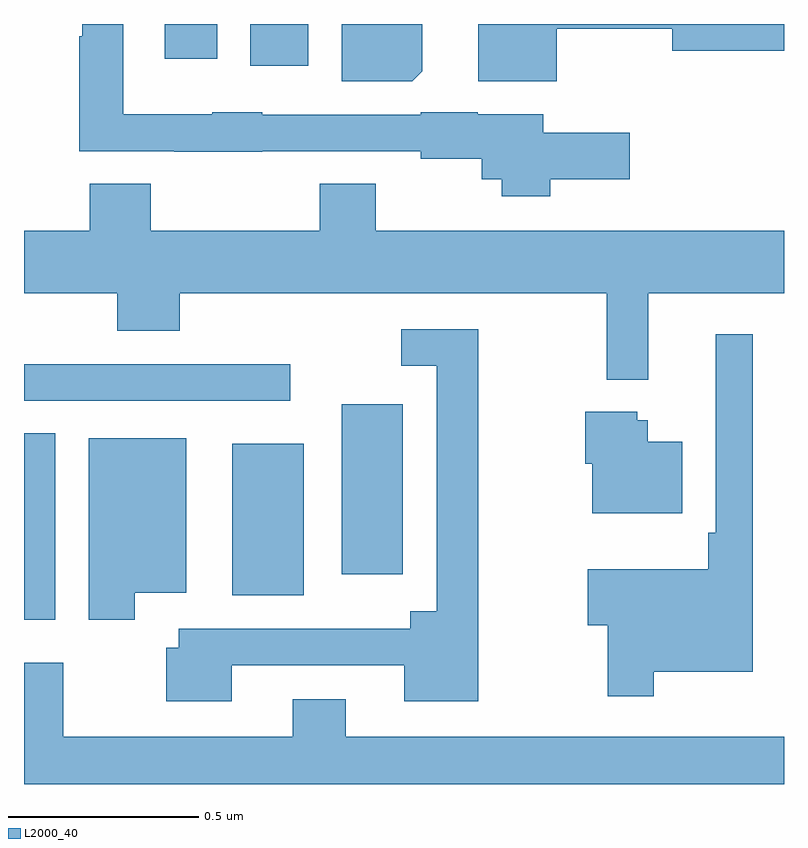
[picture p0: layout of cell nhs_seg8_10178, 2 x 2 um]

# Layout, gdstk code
import gdstk
lib = gdstk.Library(unit=1e-6, precision=1e-09)
def R(c, l, rs):  # rectangles x0, y0, x1, y1
    for r in rs: c.add(gdstk.rectangle(r[:2], r[2:], *l))
def P(c, l, *ps):  # polygons
    for p in ps: c.add(gdstk.Polygon(p, *l))
L2000_40 = (2000, 40)

nhs_seg8_10178 = lib.new_cell('nhs_seg8_10178')
R(nhs_seg8_10178, L2000_40, [(246,1090.332,246.082,1090.823), (246.548,1090.397,246.736,1090.795), (246.836,1090.452,246.997,1090.9), (246,1090.908,246.7,1091.004), (246.596,1091.79,246.748,1091.9), (246.371,1091.808,246.508,1091.9)])
P(nhs_seg8_10178, L2000_40, [(247.048,1091.776),(247.048,1091.9),(246.836,1091.9),(246.836,1091.75),(247.022,1091.75)],
  [(247.385,1091.492),(247.594,1091.492),(247.594,1091.614),(247.366,1091.614),(247.366,1091.662),(247.194,1091.662),(247.194,1091.668),(247.044,1091.668),(247.044,1091.661),(246.627,1091.661),(246.627,1091.668),(246.495,1091.668),(246.495,1091.662),(246.261,1091.662),(246.261,1091.9),(246.153,1091.9),(246.153,1091.868),(246.145,1091.868),(246.145,1091.565),(246.395,1091.565),(246.395,1091.564),(246.627,1091.564),(246.627,1091.565),(247.044,1091.565),(247.044,1091.546),(247.205,1091.546),(247.205,1091.492),(247.257,1091.492),(247.257,1091.447),(247.385,1091.447)],
  [(247.402,1091.887),(247.706,1091.887),(247.706,1091.83),(248,1091.83),(248,1091.9),(247.196,1091.9),(247.196,1091.75),(247.402,1091.75)],
  [(246.173,1091.48),(246.173,1091.356),(246,1091.356),(246,1091.192),(246.245,1091.192),(246.245,1091.093),(246.41,1091.093),(246.41,1091.192),(247.533,1091.192),(247.533,1090.964),(247.643,1090.964),(247.643,1091.192),(248,1091.192),(248,1091.356),(246.925,1091.356),(246.925,1091.48),(246.778,1091.48),(246.778,1091.356),(246.333,1091.356),(246.333,1091.48)],
  [(246.547,1090.212),(247.001,1090.212),(247.001,1090.118),(247.195,1090.118),(247.195,1091.097),(246.993,1091.097),(246.993,1091.001),(247.086,1091.001),(247.086,1090.354),(247.016,1090.354),(247.016,1090.308),(246.407,1090.308),(246.407,1090.258),(246.374,1090.258),(246.374,1090.118),(246.547,1090.118)],
  [(247.657,1090.196),(247.918,1090.196),(247.918,1091.083),(247.821,1091.083),(247.821,1090.561),(247.801,1090.561),(247.801,1090.465),(247.484,1090.465),(247.484,1090.318),(247.536,1090.318),(247.536,1090.131),(247.657,1090.131)],
  [(247.732,1090.801),(247.642,1090.801),(247.642,1090.857),(247.614,1090.857),(247.614,1090.879),(247.477,1090.879),(247.477,1090.743),(247.496,1090.743),(247.496,1090.613),(247.732,1090.613)],
  [(246.292,1090.403),(246.427,1090.403),(246.427,1090.81),(246.17,1090.81),(246.17,1090.332),(246.292,1090.332)],
  [(248,1090.024),(246.847,1090.024),(246.847,1090.123),(246.707,1090.123),(246.707,1090.024),(246.103,1090.024),(246.103,1090.219),(246,1090.219),(246,1089.9),(248,1089.9)])

lib.write_gds('nhs_seg8_10178.gds')
